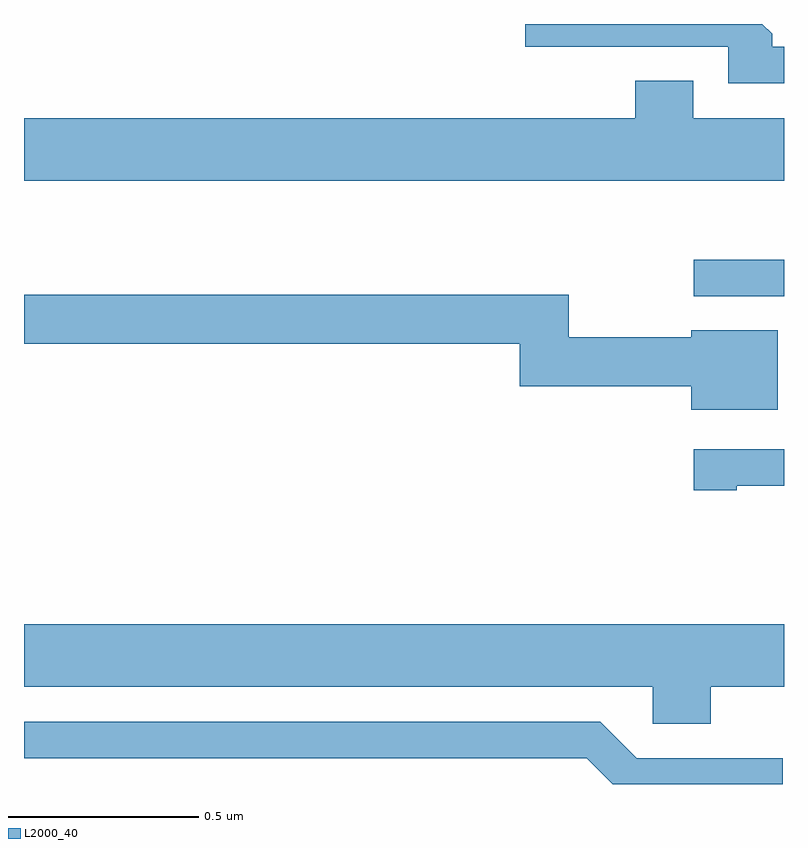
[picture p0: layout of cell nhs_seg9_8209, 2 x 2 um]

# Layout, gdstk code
import gdstk
lib = gdstk.Library(unit=1e-6, precision=1e-09)
def R(c, l, rs):  # rectangles x0, y0, x1, y1
    for r in rs: c.add(gdstk.rectangle(r[:2], r[2:], *l))
def P(c, l, *ps):  # polygons
    for p in ps: c.add(gdstk.Polygon(p, *l))
L2000_40 = (2000, 40)

nhs_seg9_8209 = lib.new_cell('nhs_seg9_8209')
R(nhs_seg9_8209, L2000_40, [(215.763,1194.783,216,1194.879)])
P(nhs_seg9_8209, L2000_40, [(216,1195.44),(215.969,1195.44),(215.969,1195.474),(215.943,1195.5),(215.319,1195.5),(215.319,1195.44),(215.853,1195.44),(215.853,1195.344),(216,1195.344)],
  [(216,1195.252),(215.761,1195.252),(215.761,1195.351),(215.609,1195.351),(215.609,1195.252),(214,1195.252),(214,1195.088),(216,1195.088)],
  [(215.983,1194.694),(215.756,1194.694),(215.756,1194.676),(215.434,1194.676),(215.434,1194.787),(214,1194.787),(214,1194.658),(215.305,1194.658),(215.305,1194.547),(215.756,1194.547),(215.756,1194.485),(215.983,1194.485)],
  [(215.875,1194.285),(216,1194.285),(216,1194.381),(215.763,1194.381),(215.763,1194.273),(215.875,1194.273)],
  [(215.807,1193.756),(216,1193.756),(216,1193.92),(214,1193.92),(214,1193.756),(215.655,1193.756),(215.655,1193.658),(215.807,1193.658)],
  [(215.997,1193.568),(215.613,1193.568),(215.517,1193.664),(214,1193.664),(214,1193.568),(215.481,1193.568),(215.549,1193.5),(215.997,1193.5)])

lib.write_gds('nhs_seg9_8209.gds')
